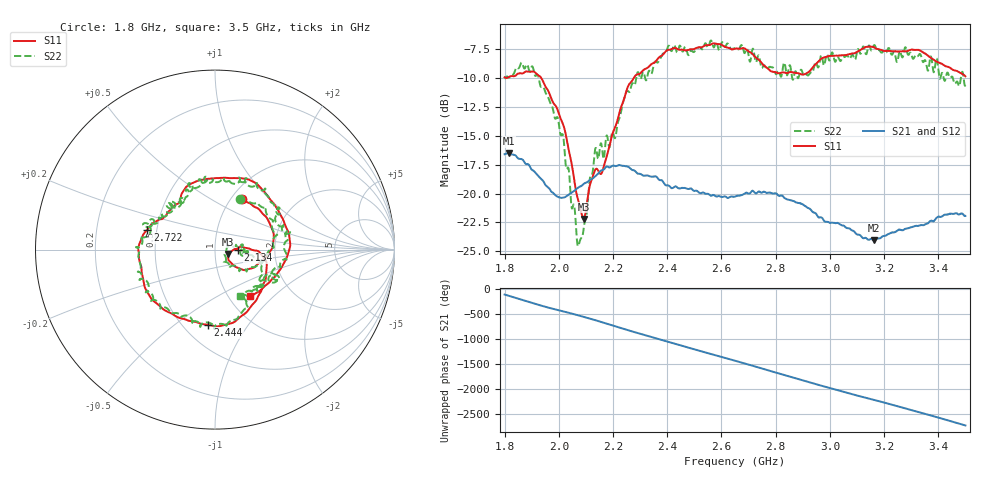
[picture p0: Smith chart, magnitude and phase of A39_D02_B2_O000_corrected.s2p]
! Created with skrf 1.9.0 (http://scikit-rf.org).
# Hz S RI R 50.0
!freq ReS11 ImS11 ReS21 ImS21 ReS12 ImS12 ReS22 ImS22
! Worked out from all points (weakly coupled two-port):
!   1601 points, 1.8 GHz to 3.5 GHz, reference 50 ohm
!   highest |S21| = -16.50 dB at 1.816 GHz (marker M1); lowest = -24.1 dB at 3.163 GHz (marker M2)
!   lowest |S11| = -22.2 dB at 2.091 GHz (marker M3), VSWR 1.17, Z = 57.9 - j2.82 ohm
!   |S11| at or under -10 dB: 1.936 GHz to 2.276 GHz (340 MHz wide, 16.1 % of centre)
!   |S22| runs from -24.6 to -6.7 dB; largest |S21 - S12| = 0.0025
!   S11 on the Smith chart (normalised r, x): 1.8 GHz: 1.12, +0.70; 2.134 GHz: 1.29, -0.01; 2.444 GHz: 0.65, -0.67; 2.722 GHz: 0.44, +0.12; 3.5 GHz: 1.26, -0.72
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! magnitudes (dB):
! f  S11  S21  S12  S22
! 1.8 GHz  -9.9  -16.6  -16.6  -10.1
! 1.816 GHz  -9.9  -16.5  -16.5  -10.0
! 1.901 GHz  -9.4  -17.9  -17.9  -9.0
! 1.966 GHz  -11.4  -19.6  -19.7  -12.0
! 2.02 GHz  -14.3  -20.3  -20.3  -15.9
! 2.07 GHz  -20.4  -19.5  -19.5  -24.5
! 2.084 GHz  -21.7  -19.3  -19.3  -23.8
! 2.091 GHz  -22.2  -19.2  -19.2  -23.1
! 2.134 GHz  -18.0  -18.5  -18.5  -16.2
! 2.162 GHz  -18.0  -18.0  -17.9  -16.7
! 2.21 GHz  -14.1  -17.6  -17.6  -15.0
! 2.259 GHz  -10.5  -17.7  -17.7  -11.2
! 2.367 GHz  -8.2  -18.7  -18.7  -8.6
! 2.444 GHz  -7.5  -19.5  -19.5  -7.3
! 2.65 GHz  -7.4  -20.3  -20.2  -7.4
! 2.722 GHz  -8.1  -19.9  -19.8  -8.1
! 2.807 GHz  -9.6  -20.1  -20.1  -9.5
! 2.934 GHz  -9.2  -21.5  -21.5  -9.5
! 3.163 GHz  -7.3  -24.1  -24.0  -7.1
! 3.217 GHz  -7.6  -23.5  -23.5  -7.4
! 3.328 GHz  -7.5  -22.8  -22.8  -8.0
! 3.5 GHz  -9.8  -21.9  -21.9  -10.6
